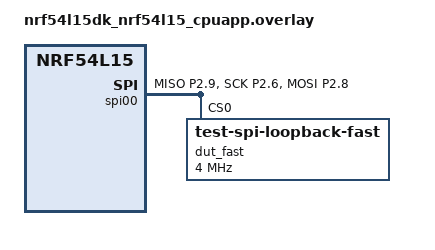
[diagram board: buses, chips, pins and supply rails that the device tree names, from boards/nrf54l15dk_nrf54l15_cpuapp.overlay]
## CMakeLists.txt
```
# SPDX-License-Identifier: Apache-2.0

cmake_minimum_required(VERSION 3.20.0)

find_package(Zephyr REQUIRED HINTS $ENV{ZEPHYR_BASE})
project(spi_loopback)

target_sources(app PRIVATE 
    src/main.cpp
    src/Spi.cpp
    )
```

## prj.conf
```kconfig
CONFIG_CPP=y
CONFIG_REQUIRES_FULL_LIBCPP=y
CONFIG_STD_CPP23=y

CONFIG_BOOT_BANNER=y
CONFIG_SPI=y
CONFIG_SPI_ASYNC=y
CONFIG_SPI_LOG_LEVEL_INF=y
```

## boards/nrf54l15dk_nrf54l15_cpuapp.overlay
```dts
/*
 * Copyright (c) 2024 Nordic Semiconductor ASA
 *
 * SPDX-License-Identifier: Apache-2.0
 */

&pinctrl {
	spi00_default: spi00_default {
		group1 {
			psels = <NRF_PSEL(SPIM_MISO, 2, 9)>;
		};
		group2 {
			psels = <NRF_PSEL(SPIM_SCK, 2, 6)>,
				<NRF_PSEL(SPIM_MOSI, 2, 8)>;
			nordic,drive-mode = <NRF_DRIVE_E0E1>;
		};
	};

	spi00_sleep: spi00_sleep {
		group1 {
			psels = <NRF_PSEL(SPIM_SCK, 2, 6)>,
				<NRF_PSEL(SPIM_MISO, 2, 9)>,
				<NRF_PSEL(SPIM_MOSI, 2, 8)>;
			low-power-enable;
		};
	};
};

/delete-node/ &mx25r64;

&spi00 {
	status = "okay";
	pinctrl-0 = <&spi00_default>;
	pinctrl-1 = <&spi00_sleep>;
	pinctrl-names = "default", "sleep";
	overrun-character = <0x00>;
	zephyr,pm-device-runtime-auto;
	dut_fast: fast@0 {
		compatible = "test-spi-loopback-fast";
		reg = <0>;
		spi-max-frequency = <DT_FREQ_M(4)>;
	};
};

&gpio2 {
	status = "okay";
};
```

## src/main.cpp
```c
#include "MemDefines.h"
#include "Spi.hpp"
#include <stdio.h>

#define FRAME_SIZE COND_CODE_1(CONFIG_SPI_LOOPBACK_16BITS_FRAMES, (16), (8))
#define MODE_LOOP  COND_CODE_1(CONFIG_SPI_LOOPBACK_MODE_LOOP, (SPI_MODE_LOOP), (0))

#define SPI_OP(frame_size)                                                 \
	SPI_OP_MODE_MASTER | SPI_MODE_CPOL | MODE_LOOP | SPI_MODE_CPHA |       \
	SPI_WORD_SET(frame_size) | SPI_LINES_SINGLE

#define SPI_FAST_DEV DT_COMPAT_GET_ANY_STATUS_OKAY(test_spi_loopback_fast)
static struct spi_dt_spec s_spiFast = SPI_DT_SPEC_GET(SPI_FAST_DEV, SPI_OP(FRAME_SIZE), 0);

#if DT_NODE_HAS_PROP(DT_PATH(zephyr_user), cs_loopback_gpios)
static const struct gpio_dt_spec cs_loopback_gpio = GPIO_DT_SPEC_GET_OR(DT_PATH(zephyr_user), cs_loopback_gpios, {0});
static struct gpio_callback cs_cb_data;
atomic_t cs_count;
#endif

constexpr const size_t BUF_SIZE = 32;

static struct k_poll_signal s_asyncSignal = K_POLL_SIGNAL_INITIALIZER(s_asyncSignal);
static struct k_poll_event s_asyncEvent = 
{
	.poller = nullptr,
    .type = K_POLL_TYPE_SIGNAL,
	.state = K_POLL_STATE_NOT_READY,
    .mode = K_POLL_MODE_NOTIFY_ONLY,
	.unused = 0,
	.signal = &s_asyncSignal
};

int main(void)
{
	printf("Sungsu's SPI Test\n");

	// Create buffers
	__BUF_ALIGN uint8_t bufferTx[BUF_SIZE] = {0};
	__BUF_ALIGN uint8_t bufferRx[BUF_SIZE] = {0};	
	Spi::Buffer tx(bufferTx, sizeof(bufferTx));
	Spi::Buffer rx(bufferRx, sizeof(bufferRx));

	Spi spi{s_spiFast, &s_asyncEvent};
	spi.Initialize();

	// Test in blocking mode
	snprintf(reinterpret_cast<char*>(tx.data()), tx.size(), "Hello");	
	spi.Tranceive(tx, rx);

	// Test in async mode
	snprintf(reinterpret_cast<char*>(tx.data()), tx.size(), "Haloo");
	spi.TranceiveAsync(tx, rx);	

	int ret = spi.WaitComplete(10);
	if(!ret)
	{
		printf("Main, Rx: %s\n", rx.data());
	}

	return 0;
}
```

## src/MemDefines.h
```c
#pragma once

#ifdef CONFIG_NOCACHE_MEMORY
#define __NOCACHE	__attribute__((__section__(".nocache")))
#elif defined(CONFIG_DT_DEFINED_NOCACHE)
#define __NOCACHE	__attribute__((__section__(CONFIG_DT_DEFINED_NOCACHE_NAME)))
#else /* CONFIG_NOCACHE_MEMORY */
#define __NOCACHE
#if CONFIG_DCACHE_LINE_SIZE != 0
#define __BUF_ALIGN	__aligned(CONFIG_DCACHE_LINE_SIZE)
#endif
#endif /* CONFIG_NOCACHE_MEMORY */

#ifndef __BUF_ALIGN
#define __BUF_ALIGN	__aligned(32)
#endif
```

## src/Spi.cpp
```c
#include "Spi.hpp"

Spi::~Spi()
{
    spi_release_dt(&m_spec);
    m_spec.config.operation &= ~SPI_LOCK_ON;
}

int Spi::Initialize()
{
    if(m_csGpio)
    {
        auto ret = ConfigureCsChangeCallback();
        if (ret)
        {
            printf("Failed to configure CS change callback, ret=%d\n", ret);
            return ret;
        }
    }

    m_initialized = true;
    return 0;
}

int Spi::Tranceive(Buffer tx, Buffer rx)
{
    if(!m_initialized)
    {
        printf("SPI not initialized. Call Initialize() before tranceiving.\n");
        return -1;
    }

    int ret = pm_device_runtime_get(m_spec.bus);
    if(ret)
    {
        printf("Failed to get runtime PM for device %s\n", m_spec.bus->name);
        return ret;
    }

    struct spi_buf spiBuffTx = ToSpiBuffer(tx);
    struct spi_buf spiBuffRx = ToSpiBuffer(rx);

    struct spi_buf_set spiBuffsTx = PopulateSpiBufSingle(spiBuffTx);
    struct spi_buf_set spiBuffsRx = PopulateSpiBufSingle(spiBuffRx);

    printf("Tranceive, Tx: %s\n", tx.data());

    ret = spi_transceive_dt(&m_spec, &spiBuffsTx, &spiBuffsRx);
    if (ret == -EINVAL || ret == -ENOTSUP) 
    {
        printf("Spi config invalid for this controller\n");
    }

    printf("Tranceive, Rx: %s\n", rx.data());

    pm_device_runtime_put(m_spec.bus);

    return ret;
}

int Spi::TranceiveAsync(Buffer tx, Buffer rx)
{
    struct spi_buf spiBuffTx = ToSpiBuffer(tx);
    struct spi_buf spiBuffRx = ToSpiBuffer(rx);

    struct spi_buf_set spiBuffsTx = PopulateSpiBufSingle(spiBuffTx);
    struct spi_buf_set spiBuffsRx = PopulateSpiBufSingle(spiBuffRx);

    printf("TranceiveAsync, Tx: %s\n", tx.data());

    int ret = spi_transceive_signal(m_spec.bus, &m_spec.config, &spiBuffsTx, &spiBuffsRx, m_asyncEvt->signal);
    if (ret) 
    {
        printf("SPI transceive asyncfailed, code %d\n", ret);
    }

    return ret;
}

int Spi::WaitComplete(uint32_t timeoutMs /* = 2000 */)
{
    if(k_poll(m_asyncEvt, 1, K_MSEC(timeoutMs)))
    {
        printf("Failed to wait for async transfer completion\n");
        return -1;
    }
    return 0;
}

struct spi_buf_set Spi::PopulateSpiBufSingle(struct spi_buf& spi_buf)
{
    struct spi_buf_set buf_set;
    buf_set.buffers = &spi_buf;
    buf_set.count = 1;

    return buf_set;
}

struct spi_buf Spi::ToSpiBuffer(Buffer buf)
{
    struct spi_buf spi_buf;
    spi_buf.buf = buf.data();
    spi_buf.len = buf.size();
    return spi_buf;
}

int Spi::ConfigureCsChangeCallback()
{
    const struct gpio_dt_spec *gpio = m_csGpio;

    if (!gpio_is_ready_dt(gpio)) 
    {
        return -ENODEV;
    }

    int ret = gpio_pin_configure_dt(gpio, GPIO_INPUT);
    if (ret) 
    {
        return ret;
    }

    ret = gpio_pin_interrupt_configure_dt(gpio, GPIO_INT_EDGE_BOTH);
    if (ret) 
    {
        return ret;
    }

    gpio_init_callback(&m_csCbData, nullptr, BIT(gpio->pin));

    return gpio_add_callback(gpio->port, &m_csCbData);    
}
```

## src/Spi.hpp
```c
#pragma once

#include <zephyr/drivers/spi.h>
#include <zephyr/pm/device_runtime.h>
#include <zephyr/drivers/gpio.h>
#include <zephyr/kernel.h>
#include <span>

class Spi
{
public:
    using Buffer = std::span<uint8_t>;

    Spi(struct spi_dt_spec &spec, 
        struct k_poll_event* asyncEvt = nullptr, 
        struct gpio_dt_spec* csGpio = nullptr, 
        struct gpio_callback csCbData = {})
     : m_spec(spec), 
       m_csGpio(csGpio),
       m_csCbData(csCbData),
       m_asyncEvt(asyncEvt)
    {  }

    ~Spi();

    int Initialize();
    int Tranceive(Buffer tx, Buffer rx);
    int TranceiveAsync(Buffer tx, Buffer rx);
    int WaitComplete(uint32_t timeoutMs = 2000);

private:
    struct spi_buf_set PopulateSpiBufSingle(struct spi_buf& spi_buf);
    struct spi_buf ToSpiBuffer(Buffer buf);
    int ConfigureCsChangeCallback();

    struct spi_dt_spec& m_spec;
    struct gpio_dt_spec* m_csGpio{nullptr};
    struct gpio_callback m_csCbData{};
    struct k_poll_event* m_asyncEvt{nullptr};

    bool m_initialized = false;
};
```
